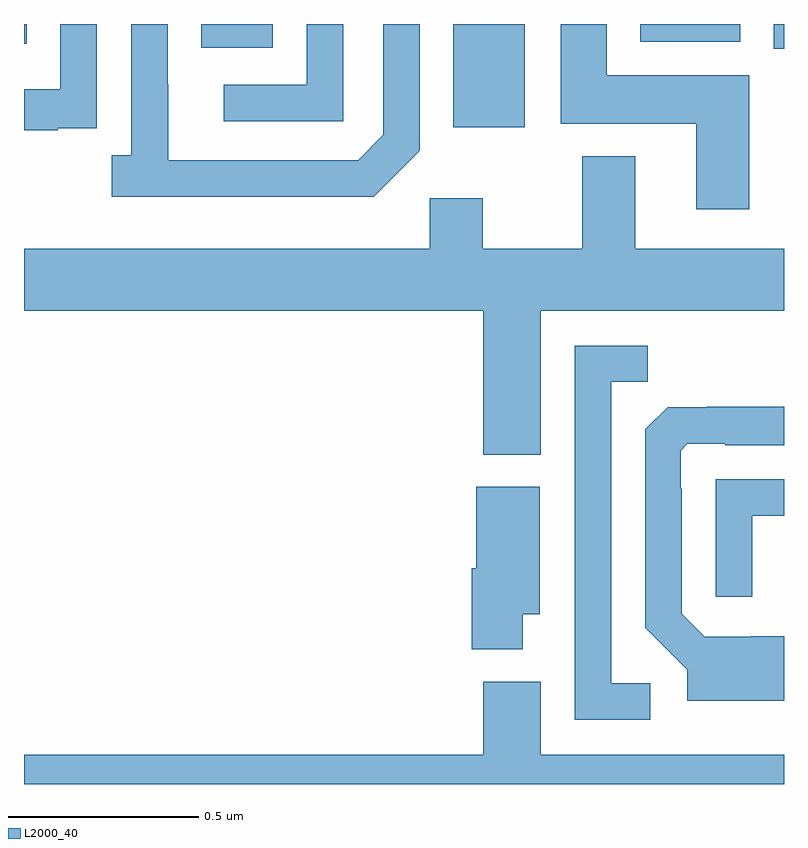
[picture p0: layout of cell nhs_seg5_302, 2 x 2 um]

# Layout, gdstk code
import gdstk
lib = gdstk.Library(unit=1e-6, precision=1e-09)
def R(c, l, rs):  # rectangles x0, y0, x1, y1
    for r in rs: c.add(gdstk.rectangle(r[:2], r[2:], *l))
def P(c, l, *ps):  # polygons
    for p in ps: c.add(gdstk.Polygon(p, *l))
L2000_40 = (2000, 40)

nhs_seg5_302 = lib.new_cell('nhs_seg5_302')
R(nhs_seg5_302, L2000_40, [(115.973,906.734,116,906.799), (114.467,906.737,114.655,906.799), (114,906.747,114.007,906.799), (115.622,906.752,115.885,906.799)])
P(nhs_seg5_302, L2000_40, [(114.84,906.799),(114.744,906.799),(114.744,906.639),(114.525,906.639),(114.525,906.543),(114.84,906.543)],
  [(115.041,906.465),(115.041,906.799),(114.945,906.799),(114.945,906.507),(114.879,906.441),(114.379,906.441),(114.379,906.641),(114.378,906.641),(114.378,906.799),(114.282,906.799),(114.282,906.454),(114.231,906.454),(114.231,906.344),(114.92,906.344)],
  [(114.089,906.525),(114.191,906.525),(114.191,906.634),(114.192,906.634),(114.192,906.799),(114.096,906.799),(114.096,906.627),(114,906.627),(114,906.519),(114.089,906.519)],
  [(115.909,906.664),(115.534,906.664),(115.534,906.799),(115.412,906.799),(115.412,906.536),(115.769,906.536),(115.769,906.312),(115.909,906.312)],
  [(115.318,906.798),(115.317,906.798),(115.317,906.799),(115.13,906.799),(115.13,906.527),(115.318,906.527)],
  [(115.36,906.044),(116,906.044),(116,906.208),(115.609,906.208),(115.609,906.451),(115.469,906.451),(115.469,906.208),(115.207,906.208),(115.207,906.34),(115.068,906.34),(115.068,906.208),(114,906.208),(114,906.044),(115.208,906.044),(115.208,905.666),(115.36,905.666)],
  [(115.648,905.064),(115.545,905.064),(115.545,905.857),(115.641,905.857),(115.641,905.952),(115.449,905.952),(115.449,904.968),(115.648,904.968)],
  [(116,905.188),(115.914,905.188),(115.914,905.187),(115.791,905.187),(115.731,905.247),(115.731,905.576),(115.728,905.576),(115.728,905.676),(115.746,905.694),(115.846,905.694),(115.846,905.691),(116,905.691),(116,905.792),(115.795,905.792),(115.795,905.791),(115.694,905.791),(115.635,905.732),(115.635,905.21),(115.745,905.1),(115.745,905.018),(116,905.018)],
  [(115.917,905.505),(116,905.505),(116,905.601),(115.821,905.601),(115.821,905.292),(115.917,905.292)],
  [(115.312,905.246),(115.357,905.246),(115.357,905.581),(115.19,905.581),(115.19,905.367),(115.178,905.367),(115.178,905.153),(115.312,905.153)],
  [(116,904.876),(115.36,904.876),(115.36,905.068),(115.208,905.068),(115.208,904.876),(114,904.876),(114,904.799),(116,904.799)])

lib.write_gds('nhs_seg5_302.gds')
